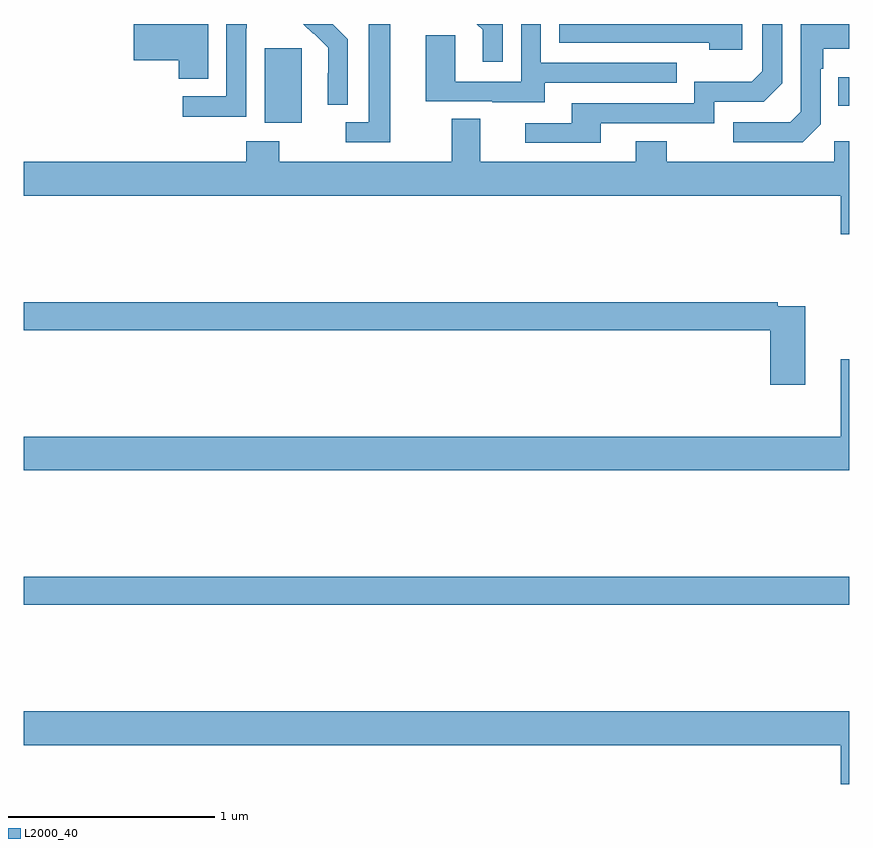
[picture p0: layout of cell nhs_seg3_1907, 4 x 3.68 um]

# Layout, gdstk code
import gdstk
lib = gdstk.Library(unit=1e-6, precision=1e-09)
def R(c, l, rs):  # rectangles x0, y0, x1, y1
    for r in rs: c.add(gdstk.rectangle(r[:2], r[2:], *l))
def P(c, l, *ps):  # polygons
    for p in ps: c.add(gdstk.Polygon(p, *l))
L2000_40 = (2000, 40)

nhs_seg3_1907 = lib.new_cell('nhs_seg3_1907')
R(nhs_seg3_1907, L2000_40, [(209,713.584,213,713.72), (210.167,715.922,210.346,716.283), (212.947,716.003,213,716.143)])
P(nhs_seg3_1907, L2000_40, [(211.795,715.92),(212.346,715.92),(212.346,716.022),(212.586,716.022),(212.676,716.112),(212.676,716.4),(212.58,716.4),(212.58,716.172),(212.527,716.119),(212.25,716.119),(212.25,716.016),(211.655,716.016),(211.655,715.92),(211.431,715.92),(211.431,715.824),(211.795,715.824)],
  [(209.893,716.4),(209.532,716.4),(209.532,716.225),(209.75,716.225),(209.75,716.134),(209.893,716.134)],
  [(212.862,715.914),(212.862,716.183),(212.875,716.183),(212.875,716.279),(213,716.279),(213,716.4),(212.766,716.4),(212.766,715.974),(212.715,715.923),(212.439,715.923),(212.439,715.827),(212.775,715.827)],
  [(212.482,716.4),(211.596,716.4),(211.596,716.31),(212.321,716.31),(212.321,716.276),(212.482,716.276)],
  [(210.57,716.326),(210.497,716.399),(210.498,716.4),(210.354,716.4),(210.402,716.352),(210.405,716.355),(210.476,716.285),(210.476,716.162),(210.474,716.162),(210.474,716.008),(210.57,716.008)],
  [(210.078,716.38),(210.081,716.38),(210.081,716.4),(209.982,716.4),(209.982,716.049),(209.769,716.049),(209.769,715.951),(210.078,715.951)],
  [(211.32,716.4),(211.196,716.4),(211.223,716.373),(211.223,716.217),(211.32,716.217)],
  [(210.775,716.4),(210.671,716.4),(210.671,715.923),(210.561,715.923),(210.561,715.827),(210.775,715.827)],
  [(211.525,716.115),(212.165,716.115),(212.165,716.211),(211.506,716.211),(211.506,716.4),(211.41,716.4),(211.41,716.121),(211.092,716.121),(211.092,716.345),(210.947,716.345),(210.947,716.025),(211.271,716.025),(211.271,716.021),(211.525,716.021)],
  [(213,715.831),(212.928,715.831),(212.928,715.732),(212.115,715.732),(212.115,715.831),(211.967,715.831),(211.967,715.732),(211.213,715.732),(211.213,715.94),(211.073,715.94),(211.073,715.732),(210.237,715.732),(210.237,715.831),(210.077,715.831),(210.077,715.732),(209,715.732),(209,715.568),(212.96,715.568),(212.96,715.38),(213,715.38)],
  [(212.788,715.032),(212.654,715.032),(212.654,715.052),(209,715.052),(209,714.916),(212.618,714.916),(212.618,714.651),(212.788,714.651)],
  [(213,714.775),(212.96,714.775),(212.96,714.4),(209,714.4),(209,714.236),(213,714.236)],
  [(213,713.068),(209,713.068),(209,712.904),(212.96,712.904),(212.96,712.716),(213,712.716)])

lib.write_gds('nhs_seg3_1907.gds')
